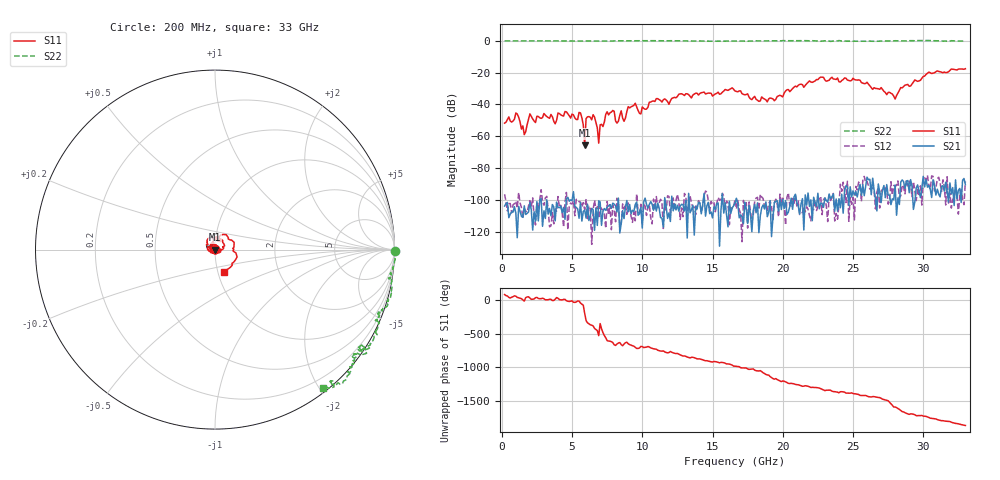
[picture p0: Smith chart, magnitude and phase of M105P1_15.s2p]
# GHZ S RI R 50
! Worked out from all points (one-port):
!   329 points, 200 MHz to 33 GHz, reference 50 ohm
!   lowest |S11| = -65.7 dB at 5.9 GHz (marker M1), VSWR 1.00, Z = 49.9 + j0.0132 ohm
!   |S11| at or under -10 dB: start of sweep to end of sweep
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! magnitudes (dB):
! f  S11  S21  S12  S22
! 200 MHz  -51.7  -103.9  -96.5  0.0
! 1 GHz  -45.4  -108.4  -100.8  0.0
! 1.6 GHz  -59.0  -103.7  -105.5  0.0
! 2 GHz  -45.9  -101.4  -100.5  0.0
! 5.7 GHz  -48.3  -113.3  -104.5  -0.1
! 5.9 GHz  -65.7  -106.3  -106.1  -0.1
! 6 GHz  -48.8  -111.5  -99.4  -0.1
! 6.1 GHz  -47.8  -102.7  -111.8  -0.1
! 6.6 GHz  -47.9  -119.1  -100.2  -0.1
! 6.9 GHz  -64.3  -100.6  -111.6  -0.1
! 7 GHz  -52.8  -101.3  -102.7  -0.1
! 7.5 GHz  -44.6  -104.7  -101.0  -0.2
! 8.2 GHz  -51.7  -107.6  -98.9  0.0
! 9 GHz  -41.4  -107.5  -102.0  0.0
! 9.9 GHz  -45.9  -104.6  -102.7  0.1
! 11.2 GHz  -37.0  -105.2  -101.9  0.1
! 16.6 GHz  -31.5  -102.0  -99.8  -0.2
! 18.9 GHz  -38.4  -110.6  -106.6  0.1
! 22.1 GHz  -26.1  -113.1  -106.1  0.1
! 25 GHz  -23.5  -94.3  -98.5  -0.2
! 27.6 GHz  -32.4  -97.1  -100.6  0.0
! 33 GHz  -17.5  -90.4  -88.4  -0.2
